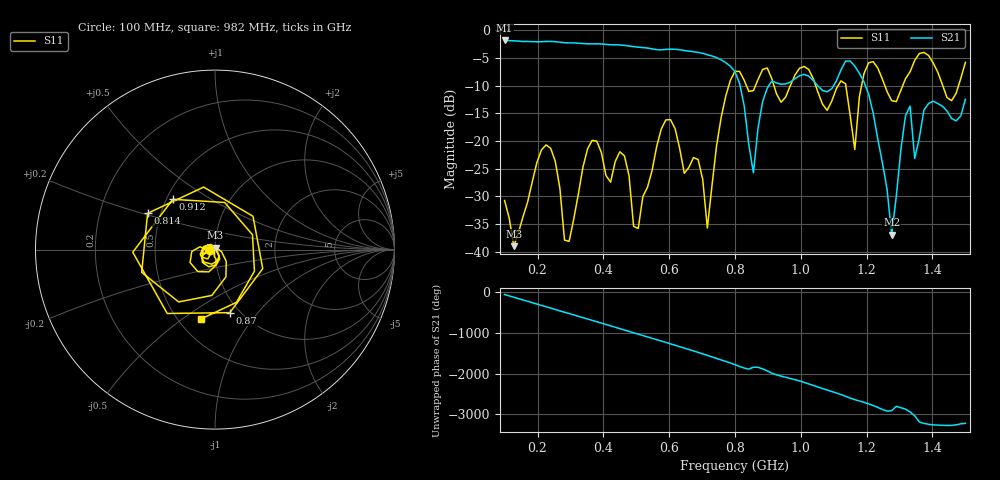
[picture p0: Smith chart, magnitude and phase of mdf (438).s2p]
! NanoVNA-App
! Date: 2025-09-25 15:41:50
! Start: 100MHz Stop: 1,5GHz Points: 101
! S-Parameter data: F S11 S21 S12 S22
# Hz S RI R 50
!  Frequency  S11_Real  S11_Imag  S21_Real  S21_Imag  S12_Real  S12_Imag  S22_Real  S22_Imag
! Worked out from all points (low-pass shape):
!   101 points, 100 MHz to 1.5 GHz, reference 50 ohm
!   highest |S21| = -1.80 dB at 100 MHz (marker M1); lowest = -36.9 dB at 1.276 GHz (marker M2)
!   |S21| within 3 dB of the highest: start of sweep to 739.3 MHz
!   lowest |S11| = -39.0 dB at 128 MHz (marker M3), VSWR 1.02, Z = 50.3 + j1.08 ohm
!   |S11| at or under -10 dB: start of sweep to 781.1 MHz; 1.045 GHz to 1.113 GHz (67.72 MHz wide, 6.28 % of centre); 1.255 GHz to 1.309 GHz (53.96 MHz wide, 4.21 % of centre) (the widest 3 of 7)
!   S12 and S22 are empty: the file has one direction only
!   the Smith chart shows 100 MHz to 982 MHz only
!   S11 on the Smith chart (normalised r, x): 100 MHz: 0.94, -0.01; 814 MHz: 0.42, +0.21; 870 MHz: 0.90, -0.73; 912 MHz: 0.54, +0.35; 982 MHz: 0.64, -0.59
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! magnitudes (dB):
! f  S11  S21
! 100 MHz  -30.7  -1.8
! 128 MHz  -39.0  -1.9
! 212 MHz  -21.6  -2.0
! 282 MHz  -37.9  -2.2
! 338 MHz  -24.7  -2.4
! 464 MHz  -22.7  -2.7
! 506 MHz  -35.8  -3.0
! 576 MHz  -17.8  -3.5
! 716 MHz  -35.7  -4.4
! 800 MHz  -7.4  -7.4
! 814 MHz  -7.4  -9.6
! 856 MHz  -10.9  -25.7
! 870 MHz  -8.9  -17.6
! 912 MHz  -8.7  -9.1
! 982 MHz  -8.1  -8.7
! 1.038 GHz  -8.7  -9.0
! 1.164 GHz  -21.5  -6.4
! 1.192 GHz  -7.8  -9.3
! 1.276 GHz  -12.7  -36.9
! 1.332 GHz  -7.5  -13.7
! 1.346 GHz  -5.4  -23.1
! 1.5 GHz  -5.8  -12.4
